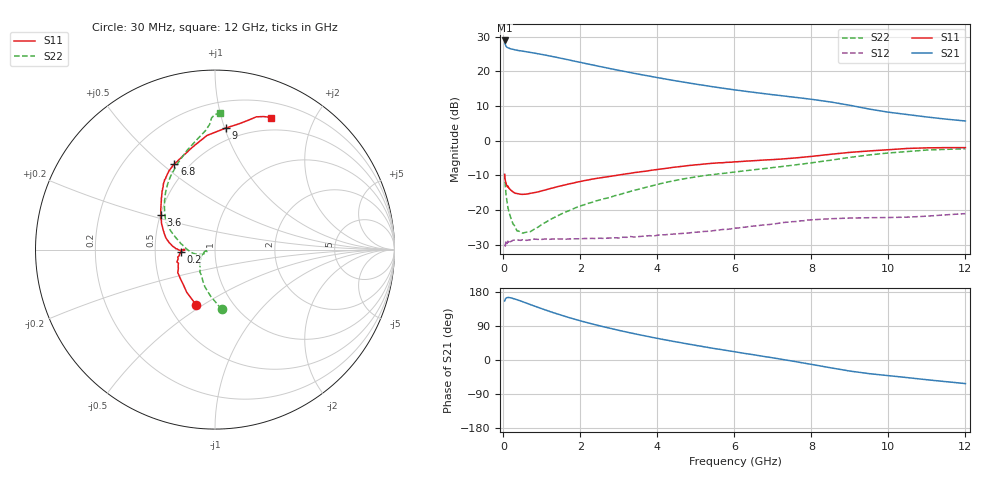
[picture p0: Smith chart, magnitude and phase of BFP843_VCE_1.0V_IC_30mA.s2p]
! Infineon Technologies  Discrete & RF Semiconductors
! BFP843
! VCE =  1.0 V,  IC =  30 mA
! Common Emitter S-Parameters:  Aug 2013
# GHz  S  MA  R  50
!  f  S11  S21  S12  S22
! GHz  MAG  ANG  MAG  ANG  MAG  ANG  MAG  ANG
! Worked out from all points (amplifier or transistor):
!   103 points, 30 MHz to 12 GHz, reference 50 ohm
!   highest |S21| = 28.9 dB at 30 MHz (marker M1)
!   |S21| within 3 dB of that: start of sweep to 449.8 MHz
!   unconditionally stable (mu >= 1): 86.93 MHz to 10.77 GHz
!   at 400 MHz: K = 1.03, MAG = 26.2 dB, |S12| = -28.7 dB
!   at 3.7 GHz: K = 1.35, MAG = 19.6 dB, |S12| = -27.5 dB
!   at 12 GHz: K = 0.88, MSG = 13.4 dB, |S12| = -21.0 dB
!   S11 on the Smith chart (normalised r, x): 30 MHz: 0.68, -0.47; 200 MHz: 0.68, -0.02; 3.6 GHz: 0.50, +0.22; 6.8 GHz: 0.42, +0.55; 9 GHz: 0.40, +1.01; 12 GHz: 0.37, +1.45
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0.03  0.326 -108.7  28.01 155.8  0.0301 25.2  0.3348 -83.6
0.04  0.2852 -123.5  25.63 158.0  0.0309 19.5  0.2621 -95.1
0.05  0.2636 -132.0  24.41 161.0  0.0305 20.7  0.2151 -105.2
0.07  0.2437 -148.3  22.94 163.3  0.0334 11.5  0.1627 -117.7
0.08  0.2289 -153.1  22.7 164.0  0.0338 8.2  0.1495 -124.4
0.13  0.2111 -166.7  21.86 165.1  0.0351 10.5  0.1019 -145.3
0.2  0.1918 -175.9  21.09 163.8  0.0353 8.2  0.0742 -161.2
0.7  0.1743 -178.7  18.81 146.2  0.0373 4.8  0.0488 -163.6
1.1  0.1958 -179.0  17.17 131.7  0.0383 5.1  0.0667 -158.8
1.3  0.2097 179.1  16.32 124.8  0.0383 5.2  0.077 -160.1
1.6  0.2305 176.3  15.08 115.2  0.0378 5.5  0.0931 -162.4
2.1  0.2656 169.6  13.14 100.6  0.0388 6.3  0.1193 -169.5
2.8  0.3079 159.5  10.91 83.0  0.0395 7.6  0.1545 179.8
3.6  0.3591 147.4  8.951 65.2  0.0418 10.3  0.2056 167.1
4.1  0.3915 140.2  7.967 55.1  0.044 11.4  0.242 160.6
5  0.4495 130.4  6.563 38.5  0.0479 12.7  0.3011 152.2
6.1  0.4986 122.0  5.342 20.2  0.055 13.1  0.3586 141.6
6.8  0.528 115.3  4.762 8.8  0.0614 11.3  0.3975 134.6
8.5  0.6375 94.0  3.624 -20.6  0.0749 -0.4  0.5238 113.4
9  0.6795 85.0  3.25 -29.2  0.0766 -4.4  0.5754 105.6
10.5  0.7747 72.7  2.384 -46.6  0.079 -11.6  0.6994 92.4
12  0.7952 66.8  1.929 -62.2  0.0888 -18.5  0.7634 87.7
